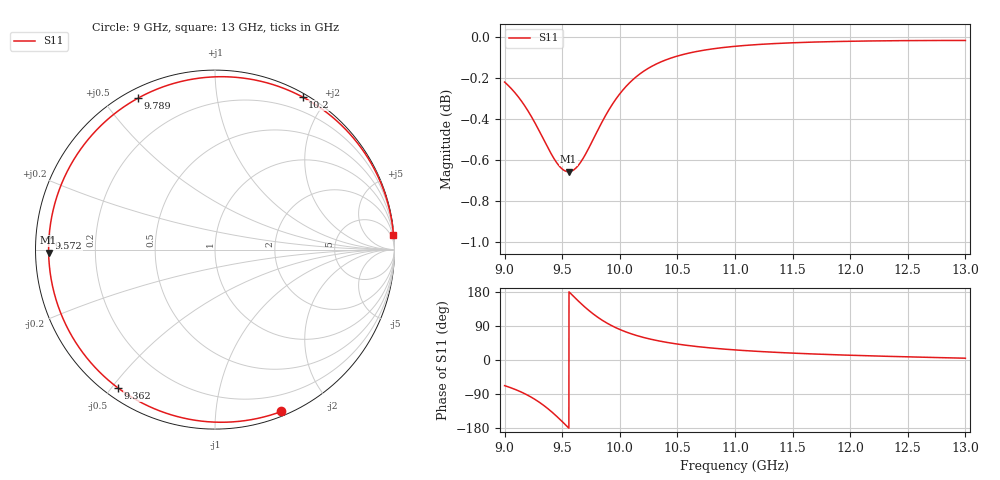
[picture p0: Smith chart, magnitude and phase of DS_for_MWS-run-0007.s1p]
! TOUCHSTONE file generated by CST DESIGN STUDIO
! Date and time: Tue Feb  4 13:08:14 2025
! Project name: C:\Work\MatlabApps\UnitCellOptimizationMatlab\CST\unitcell.cst
! Tree item: Tasks\Sweep1\SPara1\S-Parameters
! Header version: 2024
! Port assignment regex: !\s*Touchstone port\s*([0-9]+)\s*=\s*(CST MWS port|CST DES external port|CST DES block port)\s*(.+)\s* \(\"(.*)\"\)(\s*mode\s*([0-9]+))?.*
! Touchstone port assignment:
! Touchstone port 1 = CST DES external port 1 ("")
# GHz S MA R 50
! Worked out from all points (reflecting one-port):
!   4001 points, 9 GHz to 13 GHz, reference 50 ohm
!   lowest |S11| = -0.7 dB at 9.555 GHz (marker M1), VSWR 26.45, Z = 1.89 - j0.436 ohm
!   phase of S11 starts at -68 deg and turns -288 deg over the sweep
!   S11 on the Smith chart (normalised r, x): 9 GHz: 0.04, -1.49; 9.362 GHz: 0.04, -0.52; 9.572 GHz: 0.04, +0.04; 9.789 GHz: 0.04, +0.61; 10.2 GHz: 0.04, +1.73; 13 GHz: 1, +24
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9  0.9749 -67.7
9.039  0.9725 -71.6
9.105  0.9679 -79.3
9.216  0.9579 -95.5
9.293  0.9494 -109.8
9.362  0.9413 -125.1
9.429  0.934 -142.2
9.5  0.9285 -162.5
9.555  0.9271 -179.0
9.572  0.9273 175.8
9.627  0.9295 159.4
9.687  0.9347 142.3
9.738  0.9404 129.0
9.789  0.9465 117.0
9.834  0.9519 107.6
9.883  0.9575 98.3
9.937  0.963 89.5
10  0.9685 80.5
10.095  0.9751 69.5
10.198  0.9804 60.1
10.337  0.9854 50.5
10.5  0.9892 42.0
10.721  0.9923 33.8
11  0.9946 26.6
11.5  0.9965 18.1
12  0.9974 12.5
12.5  0.9977 8.3
13  0.9978 4.7
